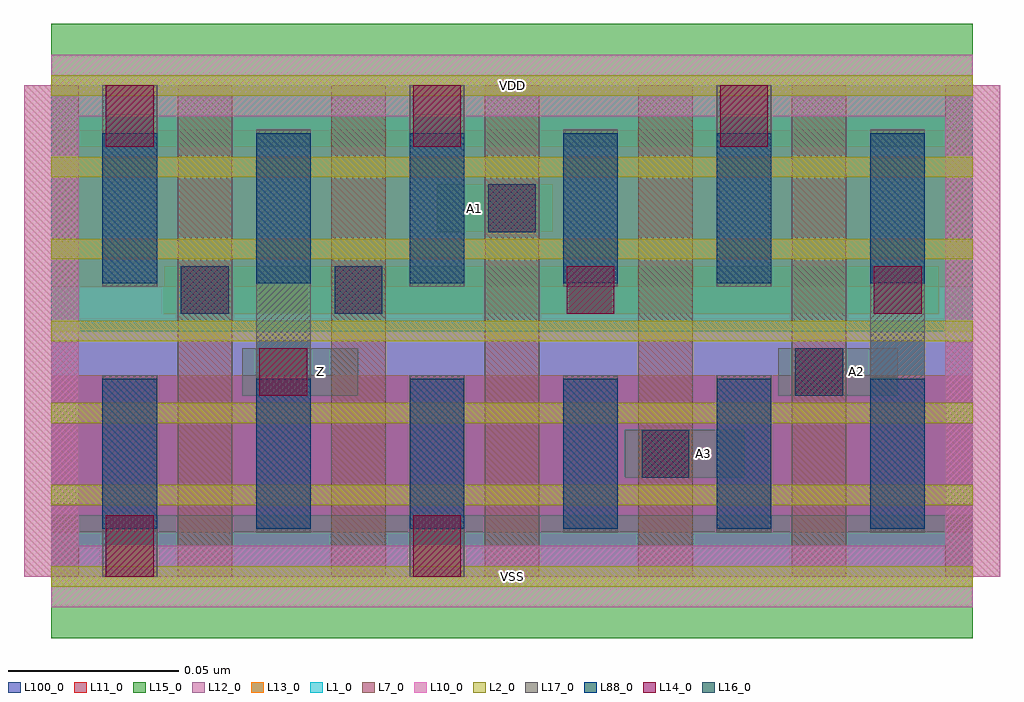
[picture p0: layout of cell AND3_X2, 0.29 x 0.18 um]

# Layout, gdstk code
import gdstk
lib = gdstk.Library(unit=1e-6, precision=1e-09)
def R(c, l, rs):  # rectangles x0, y0, x1, y1
    for r in rs: c.add(gdstk.rectangle(r[:2], r[2:], *l))
def A(c, l, x, y, w, h, nx, ny, dx, dy):  # array of equal rectangles
    R(c, l, [(x+i*dx, y+j*dy, x+i*dx+w, y+j*dy+h) for i in range(nx) for j in range(ny)])
def P(c, l, *ps):  # polygons
    for p in ps: c.add(gdstk.Polygon(p, *l))
L1_0 = (1, 0)
L2_0 = (2, 0)
L7_0 = (7, 0)
L10_0 = (10, 0)
L11_0 = (11, 0)
L12_0 = (12, 0)
L13_0 = (13, 0)
L14_0 = (14, 0)
L15_0 = (15, 0)
L16_0 = (16, 0)
L17_0 = (17, 0)
L88_0 = (88, 0)
L100_0 = (100, 0)

and3_x2 = lib.new_cell('AND3_X2')
R(and3_x2, L1_0, [(0,0.072,0.27,0.144)])
A(and3_x2, L2_0, 0, -0.003, 0.27, 0.006, 1, 7, 0, 0.024)
A(and3_x2, L7_0, -0.008, 0, 0.016, 0.144, 7, 1, 0.045, 0)
P(and3_x2, L10_0, [(0,-0.009),(0,0),(-0.008,0),(-0.008,0.135),(0.008,0.135),(0.008,0.009),(0.262,0.009),(0.262,0.135),(-0.008,0.135),(-0.008,0.144),(0,0.144),(0,0.153),(0.27,0.153),(0.27,0.144),(0.278,0.144),(0.278,0),(0.27,0),(0.27,-0.009)])
R(and3_x2, L11_0, [(0,0.013,0.27,0.059), (0,0.085,0.27,0.131)])
R(and3_x2, L12_0, [(0,0,0.27,0.072)])
R(and3_x2, L13_0, [(0,0.072,0.27,0.144)])
A(and3_x2, L14_0, 0.016, 0.126, 0.014, 0.018, 3, 1, 0.09, 0)
R(and3_x2, L14_0, [(0.016,0,0.03,0.018), (0.106,0,0.12,0.018), (0.173,0.029,0.187,0.043), (0.061,0.053,0.075,0.067), (0.218,0.053,0.232,0.067), (0.038,0.077,0.052,0.091), (0.083,0.077,0.097,0.091), (0.151,0.077,0.165,0.091), (0.241,0.077,0.255,0.091), (0.128,0.101,0.142,0.115)])
R(and3_x2, L15_0, [(0,-0.018,0.27,0.018), (0.168,0.029,0.203,0.043), (0.056,0.053,0.09,0.067), (0.213,0.053,0.248,0.067), (0.033,0.077,0.26,0.091), (0.113,0.101,0.147,0.115), (0,0.126,0.27,0.162)])
R(and3_x2, L16_0, [(0.173,0.029,0.187,0.043), (0.218,0.053,0.232,0.067), (0.038,0.077,0.052,0.091), (0.083,0.077,0.097,0.091), (0.128,0.101,0.142,0.115)])
A(and3_x2, L17_0, 0.015, 0.085, 0.016, 0.059, 3, 1, 0.09, 0)
R(and3_x2, L17_0, [(0.015,0,0.031,0.059), (0.105,0,0.121,0.059), (0.06,0.013,0.076,0.131), (0.15,0.013,0.166,0.059), (0.195,0.013,0.211,0.059), (0.24,0.013,0.256,0.131), (0.15,0.085,0.166,0.131)])
A(and3_x2, L88_0, 0.015, 0.014, 0.016, 0.044, 6, 2, 0.045, 0.072)
R(and3_x2, L100_0, [(0,0,0.27,0.144)])
and3_x2.add(gdstk.Label('A1', (0.124,0.108), layer=15, texttype=251))
and3_x2.add(gdstk.Label('VSS', (0.135,0), layer=15, texttype=251))
and3_x2.add(gdstk.Label('VDD', (0.135,0.144), layer=15, texttype=251))
and3_x2.add(gdstk.Label('Z', (0.079,0.06), layer=15, texttype=251))
and3_x2.add(gdstk.Label('VSS', (0.135,0), layer=15, texttype=251))
and3_x2.add(gdstk.Label('VDD', (0.135,0.144), layer=15, texttype=251))
and3_x2.add(gdstk.Label('A2', (0.236,0.06), layer=15, texttype=251))
and3_x2.add(gdstk.Label('VSS', (0.135,0), layer=15, texttype=251))
and3_x2.add(gdstk.Label('VDD', (0.135,0.144), layer=15, texttype=251))
and3_x2.add(gdstk.Label('A3', (0.191,0.036), layer=15, texttype=251))
and3_x2.add(gdstk.Label('VSS', (0.135,0), layer=15, texttype=251))
and3_x2.add(gdstk.Label('VDD', (0.135,0.144), layer=15, texttype=251))
and3_x2.add(gdstk.Label('VSS', (0.135,0), layer=3, texttype=251))
and3_x2.add(gdstk.Label('VSS', (0.135,0), layer=3, texttype=251))
and3_x2.add(gdstk.Label('VSS', (0.135,0), layer=3, texttype=251))
and3_x2.add(gdstk.Label('VSS', (0.135,0), layer=3, texttype=251))
and3_x2.add(gdstk.Label('VDD', (0.135,0.144), layer=1, texttype=251))
and3_x2.add(gdstk.Label('VDD', (0.135,0.144), layer=1, texttype=251))
and3_x2.add(gdstk.Label('VDD', (0.135,0.144), layer=1, texttype=251))
and3_x2.add(gdstk.Label('VDD', (0.135,0.144), layer=1, texttype=251))

lib.write_gds('AND3_X2.gds')
